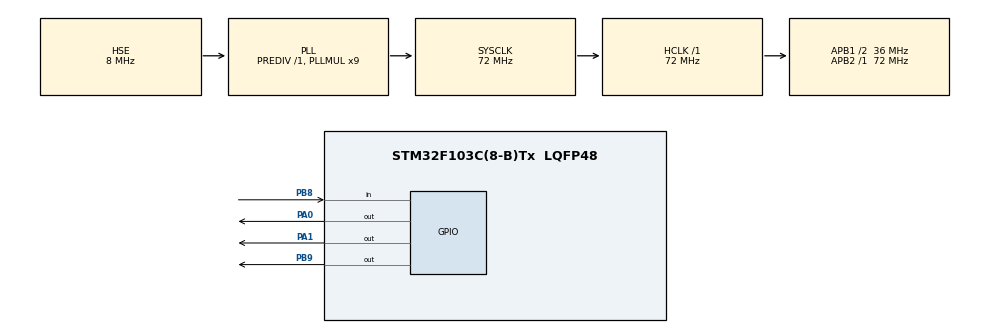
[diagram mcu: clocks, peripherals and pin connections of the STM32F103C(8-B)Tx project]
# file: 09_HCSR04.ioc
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Mcu.Family=STM32F1
Mcu.Name=STM32F103C(8-B)Tx
Mcu.Package=LQFP48
NVIC.PriorityGroup=NVIC_PRIORITYGROUP_4
PA0-WKUP.Signal=GPIO_Output
PA1.Signal=GPIO_Output
PA13.Mode=Serial_Wire
PA13.Signal=SYS_JTMS-SWDIO
PA14.Mode=Serial_Wire
PA14.Signal=SYS_JTCK-SWCLK
PB8.Signal=GPIO_Input
PB9.Signal=GPIO_Output
PD0-OSC_IN.Mode=HSE-External-Oscillator
PD0-OSC_IN.Signal=RCC_OSC_IN
PD1-OSC_OUT.Mode=HSE-External-Oscillator
PD1-OSC_OUT.Signal=RCC_OSC_OUT
ProjectManager.HeapSize=0x200
ProjectManager.StackSize=0x400
ProjectManager.TargetToolchain=MDK-ARM V5.32
RCC.AHBFreq_Value=72000000
RCC.APB1CLKDivider=RCC_HCLK_DIV2
RCC.APB1Freq_Value=36000000
RCC.APB1TimFreq_Value=72000000
RCC.APB2Freq_Value=72000000
RCC.APB2TimFreq_Value=72000000
RCC.HCLKFreq_Value=72000000
RCC.PLLMUL=RCC_PLL_MUL9
RCC.PLLSourceVirtual=RCC_PLLSOURCE_HSE
RCC.SYSCLKFreq_VALUE=72000000
RCC.SYSCLKSource=RCC_SYSCLKSOURCE_PLLCLK
RCC.USBFreq_Value=72000000
TIM2.Prescaler=71
VP_TIM2_VS_ClockSourceINT.Mode=Internal
board=custom

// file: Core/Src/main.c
/* USER CODE BEGIN Header */
/**
  ******************************************************************************
  * @file           : main.c
  * @brief          : Main program body
  ******************************************************************************
  * @attention
  *
  * Copyright (c) 2025 STMicroelectronics.
  * All rights reserved.
  *
  * This software is licensed under terms that can be found in the LICENSE file
  * in the root directory of this software component.
  * If no LICENSE file comes with this software, it is provided AS-IS.
  *
  ******************************************************************************
  */
/* USER CODE END Header */
#include "main.h"

/* USER CODE BEGIN PD */

#define TRIG_PIN	GPIO_PIN_9
#define TRIG_PORT GPIOB
#define ECHO_PIN GPIO_PIN_8
#define ECHO_PORT GPIOB

/* USER CODE END PD */

TIM_HandleTypeDef htim2;

void SystemClock_Config(void);
static void MX_GPIO_Init(void);
static void MX_TIM2_Init(void);
/* USER CODE BEGIN PFP */
void HCSR04_Init();
void HCSR04_Trig();
float HCSR04_GetDis();
/* USER CODE END PFP */

/* USER CODE BEGIN 0 */
void HCSR04_Init() {
	HAL_TIM_Base_Start(&htim2);
}

void HCSR04_Trig() {
	HAL_GPIO_WritePin(TRIG_PORT, TRIG_PIN, 1);
	HAL_Delay(1);
	HAL_GPIO_WritePin(TRIG_PORT, TRIG_PIN, 0);
}

float HCSR04_GetDis() {
	uint16_t time;
	float dis;
	// Phat xung TRIG
	HCSR04_Trig();
	// Doi ECHO len cao -> bat dau do
	while(HAL_GPIO_ReadPin(ECHO_PORT, ECHO_PIN) == 0) {}
	// Luc nay ECHO=1 -> thoat While
	__HAL_TIM_SET_COUNTER(&htim2, 0);
	// Doi ECHO xuong thap -> get ra time
	while(HAL_GPIO_ReadPin(ECHO_PORT, ECHO_PIN) == 1) {}
	// Luc nay ECHO=0 -> thoat While
	time = __HAL_TIM_GET_COUNTER(&htim2); // 1 CNT = 1us

	return dis = (float)time *0.034/2.0;
}
float DIS = 0;

/* USER CODE END 0 */

int main(void)
{

  /* MCU Configuration--------------------------------------------------------*/

  /* Reset of all peripherals, Initializes the Flash interface and the Systick. */
  HAL_Init();

  /* Configure the system clock */
  SystemClock_Config();

  /* Initialize all configured peripherals */
  MX_GPIO_Init();
  MX_TIM2_Init();
  /* USER CODE BEGIN 2 */
	HCSR04_Init();
  /* USER CODE END 2 */

  /* Infinite loop */
  while (1)
  {

    /* USER CODE BEGIN 3 */
		DIS = HCSR04_GetDis();
		HAL_Delay(500);
		if (DIS > 10) {
			HAL_GPIO_WritePin(GPIOA, GPIO_PIN_0, 1);
			HAL_GPIO_WritePin(GPIOA, GPIO_PIN_1, 1);
		} else {
			HAL_GPIO_WritePin(GPIOA, GPIO_PIN_0, 0);
			HAL_GPIO_WritePin(GPIOA, GPIO_PIN_1, 0);
		}
  }
  /* USER CODE END 3 */
}

void SystemClock_Config(void)
{
  RCC_OscInitTypeDef RCC_OscInitStruct = {0};
  RCC_ClkInitTypeDef RCC_ClkInitStruct = {0};

  /** Initializes the RCC Oscillators according to the specified parameters
  * in the RCC_OscInitTypeDef structure.
  */
  RCC_OscInitStruct.OscillatorType = RCC_OSCILLATORTYPE_HSE;
  RCC_OscInitStruct.HSEState = RCC_HSE_ON;
  RCC_OscInitStruct.HSEPredivValue = RCC_HSE_PREDIV_DIV1;
  RCC_OscInitStruct.HSIState = RCC_HSI_ON;
  RCC_OscInitStruct.PLL.PLLState = RCC_PLL_ON;
  RCC_OscInitStruct.PLL.PLLSource = RCC_PLLSOURCE_HSE;
  RCC_OscInitStruct.PLL.PLLMUL = RCC_PLL_MUL9;
  if (HAL_RCC_OscConfig(&RCC_OscInitStruct) != HAL_OK)
  {
    Error_Handler();
  }

  /** Initializes the CPU, AHB and APB buses clocks
  */
  RCC_ClkInitStruct.ClockType = RCC_CLOCKTYPE_HCLK|RCC_CLOCKTYPE_SYSCLK
                              |RCC_CLOCKTYPE_PCLK1|RCC_CLOCKTYPE_PCLK2;
  RCC_ClkInitStruct.SYSCLKSource = RCC_SYSCLKSOURCE_PLLCLK;
  RCC_ClkInitStruct.AHBCLKDivider = RCC_SYSCLK_DIV1;
  RCC_ClkInitStruct.APB1CLKDivider = RCC_HCLK_DIV2;
  RCC_ClkInitStruct.APB2CLKDivider = RCC_HCLK_DIV1;

  if (HAL_RCC_ClockConfig(&RCC_ClkInitStruct, FLASH_LATENCY_2) != HAL_OK)
  {
    Error_Handler();
  }
}

static void MX_TIM2_Init(void)
{

  TIM_ClockConfigTypeDef sClockSourceConfig = {0};
  TIM_MasterConfigTypeDef sMasterConfig = {0};

  htim2.Instance = TIM2;
  htim2.Init.Prescaler = 71;
  htim2.Init.CounterMode = TIM_COUNTERMODE_UP;
  htim2.Init.Period = 65535;
  htim2.Init.ClockDivision = TIM_CLOCKDIVISION_DIV1;
  htim2.Init.AutoReloadPreload = TIM_AUTORELOAD_PRELOAD_DISABLE;
  if (HAL_TIM_Base_Init(&htim2) != HAL_OK)
  {
    Error_Handler();
  }
  sClockSourceConfig.ClockSource = TIM_CLOCKSOURCE_INTERNAL;
  if (HAL_TIM_ConfigClockSource(&htim2, &sClockSourceConfig) != HAL_OK)
  {
    Error_Handler();
  }
  sMasterConfig.MasterOutputTrigger = TIM_TRGO_RESET;
  sMasterConfig.MasterSlaveMode = TIM_MASTERSLAVEMODE_DISABLE;
  if (HAL_TIMEx_MasterConfigSynchronization(&htim2, &sMasterConfig) != HAL_OK)
  {
    Error_Handler();
  }

}

static void MX_GPIO_Init(void)
{
  GPIO_InitTypeDef GPIO_InitStruct = {0};

  /* GPIO Ports Clock Enable */
  __HAL_RCC_GPIOD_CLK_ENABLE();
  __HAL_RCC_GPIOA_CLK_ENABLE();
  __HAL_RCC_GPIOB_CLK_ENABLE();

  /*Configure GPIO pin Output Level */
  HAL_GPIO_WritePin(GPIOA, GPIO_PIN_0|GPIO_PIN_1, GPIO_PIN_RESET);

  /*Configure GPIO pin Output Level */
  HAL_GPIO_WritePin(GPIOB, GPIO_PIN_9, GPIO_PIN_RESET);

  /*Configure GPIO pins : PA0 PA1 */
  GPIO_InitStruct.Pin = GPIO_PIN_0|GPIO_PIN_1;
  GPIO_InitStruct.Mode = GPIO_MODE_OUTPUT_PP;
  GPIO_InitStruct.Pull = GPIO_NOPULL;
  GPIO_InitStruct.Speed = GPIO_SPEED_FREQ_LOW;
  HAL_GPIO_Init(GPIOA, &GPIO_InitStruct);

  /*Configure GPIO pin : PB8 */
  GPIO_InitStruct.Pin = GPIO_PIN_8;
  GPIO_InitStruct.Mode = GPIO_MODE_INPUT;
  GPIO_InitStruct.Pull = GPIO_NOPULL;
  HAL_GPIO_Init(GPIOB, &GPIO_InitStruct);

  /*Configure GPIO pin : PB9 */
  GPIO_InitStruct.Pin = GPIO_PIN_9;
  GPIO_InitStruct.Mode = GPIO_MODE_OUTPUT_PP;
  GPIO_InitStruct.Pull = GPIO_NOPULL;
  GPIO_InitStruct.Speed = GPIO_SPEED_FREQ_LOW;
  HAL_GPIO_Init(GPIOB, &GPIO_InitStruct);

}

void Error_Handler(void)
{
  __disable_irq();
  while (1)
  {
  }
}
